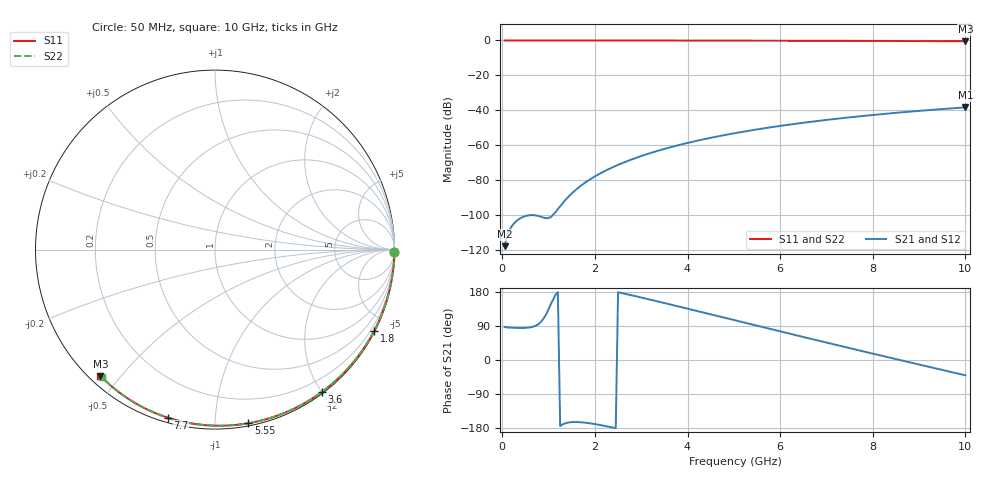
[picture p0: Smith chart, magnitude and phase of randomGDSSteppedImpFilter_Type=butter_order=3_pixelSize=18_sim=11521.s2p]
! freq	dB(S11)	phase(S11)	dB(S12)	phase(S12)
!  dB(S21)	phase(S21)	dB(S22)	phase(S22)
!S-par simulation data
#  GHz  S  DB  R 50
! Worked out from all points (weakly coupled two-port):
!   200 points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, 50 MHz to 10 GHz, reference 50 ohm
!   highest |S21| = -38.38 dB at 10 GHz (marker M1); lowest = -118.0 dB at 50 MHz (marker M2)
!   lowest |S11| = -0.4 dB at 10 GHz (marker M3), VSWR 38.86, Z = 1.54 - j22.1 ohm
!   |S11| at or under -10 dB: nowhere
!   |S22| runs from -0.4 to 0.0 dB; largest |S21 - S12| = 0
!   S11 on the Smith chart (normalised r, x): 50 MHz: open; 1.8 GHz: 0.04, -4.15; 3.6 GHz: 0.02, -2.01; 5.55 GHz: 0.02, -1.21; 7.7 GHz: 0.02, -0.76; 10 GHz: 0.03, -0.44
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0.05  -0.00 -0.8  -117.99 87.4  -117.99 87.4  -0.00 -0.8
0.9  -0.02 -13.7  -101.70 111.2  -101.70 111.2  -0.02 -13.6
1.75  -0.03 -26.4  -82.27 -164.8  -82.27 -164.8  -0.03 -26.2
1.8  -0.03 -27.1  -81.33 -165.5  -81.33 -165.5  -0.03 -27.0
1.85  -0.04 -27.8  -80.44 -166.3  -80.44 -166.3  -0.04 -27.7
1.9  -0.04 -28.6  -79.58 -167.2  -79.58 -167.2  -0.04 -28.4
2.05  -0.04 -30.8  -77.20 -170.2  -77.20 -170.2  -0.04 -30.6
2.25  -0.04 -33.7  -74.40 -174.8  -74.40 -174.8  -0.04 -33.5
2.45  -0.05 -36.6  -71.93 -179.9  -71.93 -179.9  -0.05 -36.4
2.65  -0.05 -39.5  -69.71 174.8  -69.71 174.8  -0.05 -39.3
3  -0.06 -44.5  -66.30 164.9  -66.30 164.9  -0.06 -44.3
3.4  -0.07 -50.2  -62.96 153.3  -62.96 153.3  -0.07 -49.9
3.6  -0.07 -53.0  -61.47 147.4  -61.47 147.4  -0.07 -52.7
4.3  -0.09 -62.6  -56.96 126.5  -56.96 126.5  -0.09 -62.3
5.05  -0.11 -72.6  -53.04 104.0  -53.04 104.0  -0.11 -72.3
5.55  -0.13 -79.1  -50.81 89.0  -50.81 89.0  -0.13 -78.7
6.1  -0.15 -86.1  -48.63 72.6  -48.63 72.6  -0.15 -85.7
6.7  -0.18 -93.6  -46.54 54.8  -46.54 54.8  -0.18 -93.1
7.7  -0.24 -105.7  -43.55 25.5  -43.55 25.5  -0.24 -105.1
8.35  -0.29 -113.3  -41.88 6.7  -41.88 6.7  -0.29 -112.7
9.15  -0.36 -122.5  -40.06 -16.2  -40.06 -16.2  -0.36 -121.9
10  -0.45 -132.2  -38.38 -40.4  -38.38 -40.4  -0.45 -131.5
